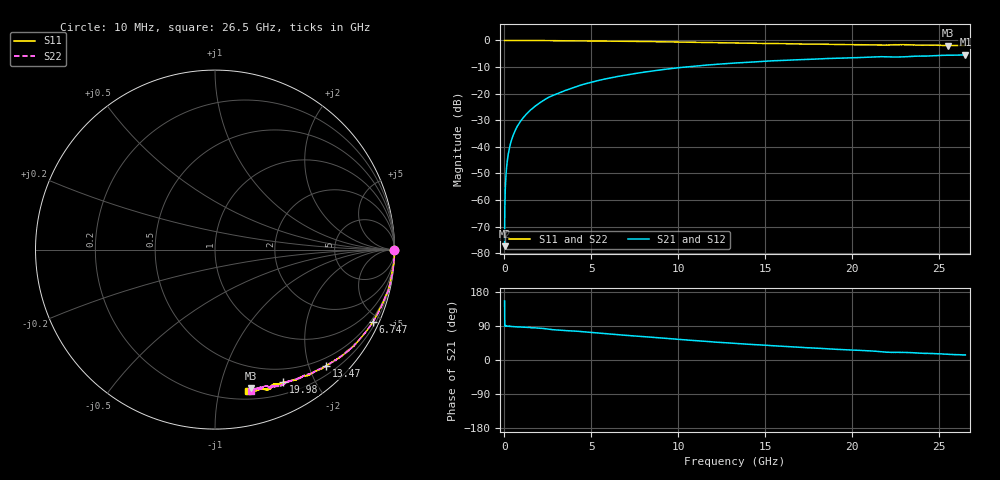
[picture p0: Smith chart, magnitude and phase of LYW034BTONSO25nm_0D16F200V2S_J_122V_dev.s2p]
!Keysight Technologies,N5222B,MY61253708,A.15.00.15
!Date: Wednesday, June 19, 2024 09:51:12
!Correction: S11(C  2-Port  )
!S21(C  2-Port  )
!S12(C  2-Port  )
!S22(C  2-Port  )
!S2P File: Measurements: S11, S21, S12, S22:
# Hz S  RI  R 50
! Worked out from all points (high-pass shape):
!   2651 points, 10 MHz to 26.5 GHz, reference 50 ohm
!   highest |S21| = -5.39 dB at 26.5 GHz (marker M1); lowest = -77.3 dB at 10 MHz (marker M2)
!   |S21| within 3 dB of the highest: 13.46235 GHz to 13.47817 GHz (15.82 MHz wide, 0.117 % of centre); 13.52 GHz to end of sweep
!   lowest |S11| = -2.0 dB at 25.5 GHz (marker M3), VSWR 8.93, Z = 14.7 - j62.6 ohm
!   |S11| at or under -10 dB: nowhere
!   |S22| runs from -1.9 to 0.0 dB; largest |S21 - S12| = 0.0062
!   S11 on the Smith chart (normalised r, x): 10 MHz: open; 6.747 GHz: 0.36, -4.53; 13.47 GHz: 0.34, -2.29; 19.98 GHz: 0.33, -1.59; 26.5 GHz: 0.27, -1.22
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1e7  0.9986 -0.00283  -0.000124 5.55e-05  0.000174 0.000251  0.9988 -0.00141
7.997358e7  1 -0.00577  5.54e-05 0.00264  1.73e-05 0.00266  0.9994 -0.00522
1.499472e8  0.9999 -0.0108  6.36e-05 0.00498  4.16e-05 0.00499  0.9996 -0.0101
1.799358e8  0.9999 -0.0121  7.91e-05 0.00596  7.86e-05 0.00599  0.9996 -0.0114
2.29917e8  0.9997 -0.0159  0.000118 0.00758  0.000134 0.00767  0.9994 -0.0149
3.19883e8  0.9996 -0.0216  0.000221 0.0106  0.000224 0.0106  0.9995 -0.0204
4.49834e8  0.9991 -0.0305  0.000417 0.0148  0.000447 0.0149  0.9989 -0.0296
5.997774e8  0.9987 -0.0401  0.00081 0.0198  0.000794 0.0199  0.9989 -0.0391
7.897057e8  0.9982 -0.0527  0.00136 0.026  0.00136 0.0261  0.9977 -0.0517
1.409472e9  0.991 -0.0956  0.0032 0.046  0.00328 0.0463  0.9937 -0.0912
2.319128e9  0.9821 -0.1507  0.00975 0.077  0.00994 0.0775  0.9836 -0.1505
3.198796e9  0.9713 -0.2067  0.0208 0.1033  0.021 0.1039  0.9716 -0.2049
4.428332e9  0.9428 -0.2802  0.0381 0.141  0.0385 0.1419  0.9451 -0.2761
6.747457e9  0.8782 -0.4047  0.0887 0.1981  0.09 0.1989  0.8806 -0.4025
8.846664e9  0.8037 -0.5019  0.1441 0.2362  0.1457 0.2369  0.8069 -0.4983
1.3255e10  0.6277 -0.6422  0.2711 0.2609  0.2734 0.2606  0.6344 -0.6389
1.347492e10  0.6184 -0.6502  0.2779 0.2604  0.279 0.2596  0.6245 -0.6437
1.767333e10  0.4558 -0.7218  0.3775 0.2336  0.3808 0.2318  0.4699 -0.7181
1.998246e10  0.3804 -0.7394  0.4231 0.2091  0.4257 0.2064  0.3967 -0.738
2.209166e10  0.3204 -0.7547  0.4604 0.1719  0.4621 0.1689  0.3185 -0.7607
2.550038e10  0.2014 -0.7728  0.5099 0.1356  0.5112 0.1348  0.2256 -0.776
2.65e10  0.182 -0.7865  0.5232 0.1242  0.5227 0.1202  0.1993 -0.7856
